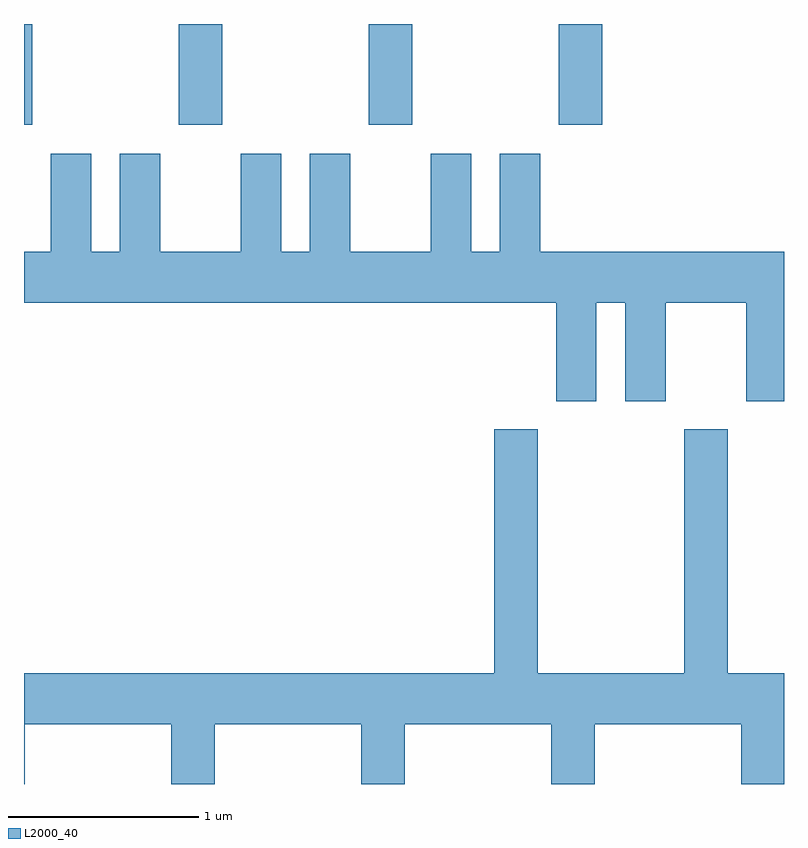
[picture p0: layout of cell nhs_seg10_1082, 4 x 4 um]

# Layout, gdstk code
import gdstk
lib = gdstk.Library(unit=1e-6, precision=1e-09)
def R(c, l, rs):  # rectangles x0, y0, x1, y1
    for r in rs: c.add(gdstk.rectangle(r[:2], r[2:], *l))
def A(c, l, x, y, w, h, nx, ny, dx, dy):  # array of equal rectangles
    R(c, l, [(x+i*dx, y+j*dy, x+i*dx+w, y+j*dy+h) for i in range(nx) for j in range(ny)])
def P(c, l, *ps):  # polygons
    for p in ps: c.add(gdstk.Polygon(p, *l))
L2000_40 = (2000, 40)

nhs_seg10_1082 = lib.new_cell('nhs_seg10_1082')
A(nhs_seg10_1082, L2000_40, 218.426, 2085.991, 0.228, 0.531, 3, 1, 1, 0)
R(nhs_seg10_1082, L2000_40, [(217.611,2085.991,217.654,2086.522)])
P(nhs_seg10_1082, L2000_40, [(220.624,2085.056),(220.776,2085.056),(220.776,2084.536),(220.989,2084.536),(220.989,2085.056),(221.411,2085.056),(221.411,2084.536),(221.611,2084.536),(221.611,2085.324),(220.329,2085.324),(220.329,2085.839),(220.116,2085.839),(220.116,2085.324),(219.964,2085.324),(219.964,2085.839),(219.751,2085.839),(219.751,2085.324),(219.329,2085.324),(219.329,2085.839),(219.116,2085.839),(219.116,2085.324),(218.964,2085.324),(218.964,2085.839),(218.751,2085.839),(218.751,2085.324),(218.329,2085.324),(218.329,2085.839),(218.116,2085.839),(218.116,2085.324),(217.964,2085.324),(217.964,2085.839),(217.751,2085.839),(217.751,2085.324),(217.611,2085.324),(217.611,2085.056),(220.411,2085.056),(220.411,2084.536),(220.624,2084.536)],
  [(217.614,2082.836),(218.386,2082.836),(218.386,2082.522),(218.614,2082.522),(218.614,2082.836),(219.386,2082.836),(219.386,2082.522),(219.614,2082.522),(219.614,2082.836),(220.386,2082.836),(220.386,2082.522),(220.614,2082.522),(220.614,2082.836),(221.386,2082.836),(221.386,2082.522),(221.611,2082.522),(221.611,2083.104),(221.314,2083.104),(221.314,2084.389),(221.086,2084.389),(221.086,2083.104),(220.314,2083.104),(220.314,2084.389),(220.086,2084.389),(220.086,2083.104),(217.611,2083.104),(217.611,2082.522),(217.614,2082.522)])

lib.write_gds('nhs_seg10_1082.gds')
